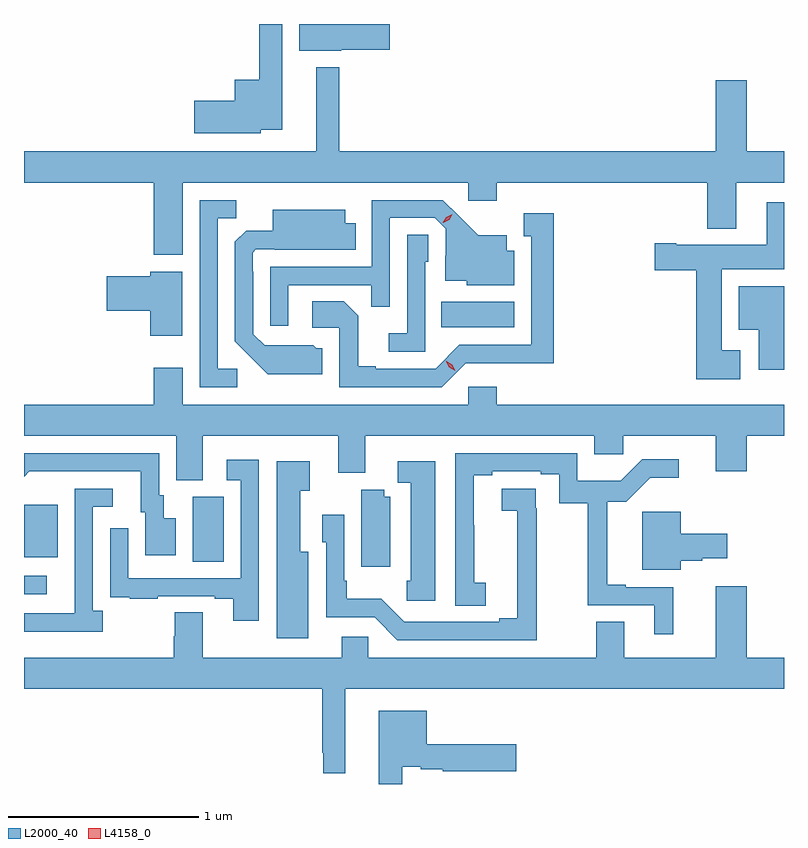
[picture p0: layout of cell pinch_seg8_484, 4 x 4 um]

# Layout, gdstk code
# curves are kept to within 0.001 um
import gdstk
lib = gdstk.Library(unit=1e-6, precision=1e-09)
def R(c, l, rs):  # rectangles x0, y0, x1, y1
    for r in rs: c.add(gdstk.rectangle(r[:2], r[2:], *l))
def P(c, l, *ps):  # polygons
    for p in ps: c.add(gdstk.Polygon(p, *l))
L2000_40 = (2000, 40)
L4158_0 = (4158, 0)

pinch_seg8_484 = lib.new_cell('pinch_seg8_484')
R(pinch_seg8_484, L2000_40, [(209.319,1130.319,209.44,1130.415), (210.206,1130.488,210.37,1130.832), (209.319,1130.513,209.497,1130.788), (211.516,1131.722,211.9,1131.856)])
P(pinch_seg8_484, L2000_40, [(210.99,1133.183),(211.243,1133.183),(211.243,1133.319),(210.767,1133.319),(210.767,1133.177),(210.99,1133.177)],
  [(210.564,1132.763),(210.679,1132.763),(210.679,1133.319),(210.558,1133.319),(210.558,1133.026),(210.428,1133.026),(210.428,1132.916),(210.216,1132.916),(210.216,1132.745),(210.564,1132.745)],
  [(210.154,1132.484),(211.656,1132.484),(211.656,1132.389),(211.808,1132.389),(211.808,1132.484),(212.915,1132.484),(212.915,1132.241),(213.067,1132.241),(213.067,1132.484),(213.319,1132.484),(213.319,1132.648),(213.124,1132.648),(213.124,1133.023),(212.96,1133.023),(212.96,1132.648),(210.979,1132.648),(210.979,1133.092),(210.857,1133.092),(210.857,1132.648),(209.319,1132.648),(209.319,1132.484),(210.002,1132.484),(210.002,1132.104),(210.154,1132.104)],
  [(210.442,1131.504),(210.339,1131.504),(210.339,1132.297),(210.435,1132.297),(210.435,1132.392),(210.243,1132.392),(210.243,1131.408),(210.442,1131.408)],
  [(210.711,1131.945),(211.147,1131.945),(211.147,1131.832),(211.245,1131.832),(211.245,1132.299),(211.482,1132.299),(211.539,1132.242),(211.539,1132.1),(211.535,1132.1),(211.535,1131.968),(211.65,1131.968),(211.65,1131.944),(211.9,1131.944),(211.9,1132.126),(211.861,1132.126),(211.861,1132.207),(211.709,1132.207),(211.522,1132.392),(211.149,1132.392),(211.149,1132.041),(210.615,1132.041),(210.615,1131.732),(210.711,1131.732)],
  [(213.088,1131.601),(212.992,1131.601),(212.992,1132.028),(213.319,1132.028),(213.319,1132.381),(213.227,1132.381),(213.227,1132.156),(212.752,1132.156),(212.752,1132.164),(212.64,1132.164),(212.64,1132.022),(212.858,1132.022),(212.858,1131.449),(213.088,1131.449)],
  [(210.889,1131.612),(210.858,1131.612),(210.842,1131.628),(210.585,1131.627),(210.525,1131.687),(210.525,1132.016),(210.522,1132.016),(210.522,1132.116),(210.54,1132.134),(210.64,1132.134),(210.64,1132.13),(211.064,1132.13),(211.064,1132.27),(211.009,1132.27),(211.009,1132.342),(210.629,1132.342),(210.629,1132.231),(210.488,1132.231),(210.429,1132.172),(210.429,1131.65),(210.601,1131.476),(210.889,1131.476)],
  [(211.644,1131.534),(212.107,1131.533),(212.107,1132.324),(211.949,1132.324),(211.949,1132.203),(211.988,1132.203),(211.988,1131.63),(211.611,1131.63),(211.485,1131.504),(211.171,1131.504),(211.171,1131.517),(211.077,1131.517),(211.077,1131.784),(211.001,1131.86),(210.837,1131.86),(210.837,1131.72),(210.978,1131.72),(210.978,1131.408),(211.518,1131.408)],
  [(211.431,1132.068),(211.446,1132.068),(211.446,1132.211),(211.335,1132.211),(211.335,1131.691),(211.239,1131.691),(211.239,1131.594),(211.431,1131.594)],
  [(210.151,1132.015),(209.984,1132.015),(209.984,1131.992),(209.754,1131.992),(209.754,1131.809),(209.984,1131.809),(209.984,1131.678),(210.151,1131.678)],
  [(213.319,1131.94),(213.08,1131.94),(213.08,1131.71),(213.185,1131.71),(213.185,1131.498),(213.319,1131.498)],
  [(210.259,1131.152),(210.974,1131.152),(210.974,1130.958),(211.114,1130.958),(211.114,1131.152),(212.321,1131.152),(212.321,1131.054),(212.473,1131.054),(212.473,1131.152),(212.96,1131.152),(212.96,1130.964),(213.124,1130.964),(213.124,1131.152),(213.319,1131.152),(213.319,1131.316),(211.808,1131.316),(211.808,1131.409),(211.656,1131.409),(211.656,1131.316),(210.154,1131.316),(210.154,1131.511),(210.002,1131.511),(210.002,1131.316),(209.319,1131.316),(209.319,1131.152),(210.119,1131.152),(210.119,1130.917),(210.259,1130.917)],
  [(210.118,1130.719),(210.055,1130.719),(210.055,1130.838),(210.03,1130.838),(210.03,1131.06),(209.319,1131.06),(209.319,1130.937),(209.346,1130.964),(209.933,1130.964),(209.933,1130.748),(209.957,1130.748),(209.957,1130.523),(210.118,1130.523)],
  [(212.736,1130.355),(212.485,1130.355),(212.485,1130.368),(212.39,1130.368),(212.39,1130.805),(212.489,1130.805),(212.615,1130.93),(212.764,1130.93),(212.764,1131.027),(212.574,1131.027),(212.461,1130.914),(212.232,1130.914),(212.232,1131.06),(211.59,1131.06),(211.59,1130.257),(211.75,1130.257),(211.75,1130.377),(211.689,1130.377),(211.689,1130.681),(211.687,1130.681),(211.687,1130.944),(211.783,1130.944),(211.783,1130.964),(212.039,1130.964),(212.039,1130.95),(212.136,1130.95),(212.136,1130.797),(212.287,1130.797),(212.287,1130.259),(212.636,1130.259),(212.636,1130.106),(212.736,1130.106)],
  [(210.555,1131.025),(210.387,1131.025),(210.387,1130.919),(210.459,1130.919),(210.459,1130.403),(209.868,1130.403),(209.868,1130.665),(209.772,1130.665),(209.772,1130.41),(209.773,1130.41),(209.773,1130.301),(209.875,1130.301),(209.875,1130.295),(210.023,1130.295),(210.023,1130.307),(210.323,1130.307),(210.323,1130.295),(210.419,1130.295),(210.419,1130.178),(210.555,1130.178)],
  [(210.814,1130.542),(210.772,1130.542),(210.772,1130.863),(210.823,1130.863),(210.823,1131.019),(210.65,1131.019),(210.65,1130.085),(210.814,1130.085)],
  [(211.483,1131.019),(211.287,1131.019),(211.287,1130.904),(211.355,1130.904),(211.355,1130.388),(211.333,1130.388),(211.333,1130.283),(211.483,1130.283)],
  [(209.734,1130.23),(209.682,1130.23),(209.682,1130.778),(209.785,1130.778),(209.785,1130.874),(209.586,1130.874),(209.586,1130.417),(209.585,1130.417),(209.585,1130.217),(209.319,1130.217),(209.319,1130.12),(209.734,1130.12)],
  [(212.018,1130.771),(212.012,1130.771),(212.012,1130.873),(211.833,1130.873),(211.833,1130.758),(211.915,1130.758),(211.916,1130.192),(211.82,1130.192),(211.82,1130.172),(211.32,1130.172),(211.199,1130.293),(211.018,1130.293),(211.018,1130.389),(211.005,1130.389),(211.005,1130.737),(210.888,1130.737),(210.888,1130.592),(210.909,1130.592),(210.909,1130.196),(211.164,1130.196),(211.284,1130.076),(212.018,1130.076)],
  [(211.246,1130.83),(211.214,1130.83),(211.214,1130.867),(211.094,1130.867),(211.094,1130.463),(211.246,1130.463)],
  [(212.776,1130.495),(212.889,1130.495),(212.889,1130.507),(213.019,1130.507),(213.019,1130.637),(212.776,1130.637),(212.776,1130.752),(212.573,1130.752),(212.573,1130.447),(212.776,1130.447)],
  [(211.009,1129.82),(213.319,1129.82),(213.319,1129.984),(213.124,1129.984),(213.124,1130.359),(212.96,1130.359),(212.96,1129.984),(212.479,1129.984),(212.479,1130.174),(212.332,1130.174),(212.332,1129.984),(211.131,1129.984),(211.131,1130.094),(210.992,1130.094),(210.992,1129.984),(210.259,1129.984),(210.259,1130.222),(210.112,1130.222),(210.112,1130.097),(210.107,1130.097),(210.107,1129.984),(209.319,1129.984),(209.319,1129.82),(210.888,1129.82),(210.888,1129.483),(210.894,1129.483),(210.894,1129.376),(211.009,1129.376)],
  [(211.309,1129.409),(211.406,1129.409),(211.406,1129.397),(211.524,1129.397),(211.524,1129.385),(211.909,1129.385),(211.909,1129.527),(211.438,1129.527),(211.438,1129.705),(211.187,1129.705),(211.187,1129.319),(211.309,1129.319)])
P(pinch_seg8_484, L4158_0, [(211.588,1131.493),(211.557,1131.513),(211.54,1131.546),(211.54,1131.546),(211.54,1131.546),(211.572,1131.526),(211.589,1131.493),(211.589,1131.493)],
  [(211.524,1132.273),(211.524,1132.273),(211.542,1132.302),(211.573,1132.318),(211.573,1132.318),(211.573,1132.317),(211.556,1132.288),(211.525,1132.273)])

lib.write_gds('pinch_seg8_484.gds')
